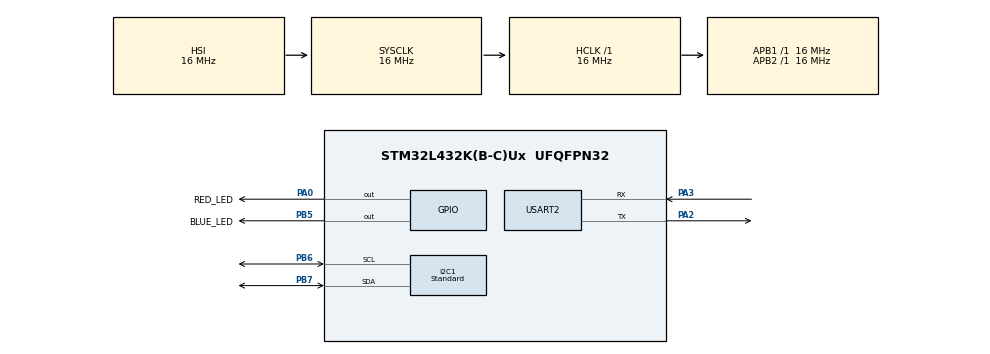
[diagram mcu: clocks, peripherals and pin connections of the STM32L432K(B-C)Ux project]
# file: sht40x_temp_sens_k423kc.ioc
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I2C1.I2C_Speed_Mode=I2C_Standard
I2C1.Timing=0x00303D5B
Mcu.Family=STM32L4
Mcu.Name=STM32L432K(B-C)Ux
Mcu.Package=UFQFPN32
NVIC.PriorityGroup=NVIC_PRIORITYGROUP_4
PA0.GPIO_Label=RED_LED
PA0.Signal=GPIO_Output
PA13\ (JTMS-SWDIO).Mode=Serial_Wire
PA13\ (JTMS-SWDIO).Signal=SYS_JTMS-SWDIO
PA14\ (JTCK-SWCLK).Mode=Serial_Wire
PA14\ (JTCK-SWCLK).Signal=SYS_JTCK-SWCLK
PA2.Mode=Asynchronous
PA2.Signal=USART2_TX
PA3.Mode=Asynchronous
PA3.Signal=USART2_RX
PB5.GPIO_Label=BLUE_LED
PB5.Signal=GPIO_Output
PB6.Mode=I2C
PB6.Signal=I2C1_SCL
PB7.Mode=I2C
PB7.Signal=I2C1_SDA
ProjectManager.HeapSize=0x200
ProjectManager.StackSize=0x400
ProjectManager.TargetToolchain=STM32CubeIDE
RCC.ADCFreq_Value=16000000
RCC.AHBFreq_Value=16000000
RCC.APB1Freq_Value=16000000
RCC.APB1TimFreq_Value=16000000
RCC.APB2Freq_Value=16000000
RCC.APB2TimFreq_Value=16000000
RCC.CortexFreq_Value=16000000
RCC.HCLKFreq_Value=16000000
RCC.HSE_VALUE=8000000
RCC.HSI48_VALUE=48000000
RCC.HSI_VALUE=16000000
RCC.LSE_VALUE=32768
RCC.MSI_VALUE=4000000
RCC.PLLM=4
RCC.PLLN=16
RCC.PLLSourceVirtual=RCC_PLLSOURCE_HSI
RCC.SYSCLKFreq_VALUE=16000000
RCC.SYSCLKSource=RCC_SYSCLKSOURCE_HSI
RCC.USBFreq_Value=16000000
RCC.VCOOutputFreq_Value=64000000
USART2.VirtualMode-Asynchronous=VM_ASYNC
board=custom

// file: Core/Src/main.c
/* USER CODE BEGIN Header */
/**
  ******************************************************************************
  * @file           : main.c
  * @brief          : Main program body
  ******************************************************************************
  * @attention
  *
  * Copyright (c) 2023 STMicroelectronics.
  * All rights reserved.
  *
  * This software is licensed under terms that can be found in the LICENSE file
  * in the root directory of this software component.
  * If no LICENSE file comes with this software, it is provided AS-IS.
  *
  ******************************************************************************
  */
/* USER CODE END Header */
#include "main.h"

/* USER CODE BEGIN Includes */
#include "sht40x_driver_basic.h"
/* USER CODE END Includes */

 I2C_HandleTypeDef hi2c1;

UART_HandleTypeDef huart2;

/* USER CODE BEGIN PV */
void serial_print(const char *pString, uint8_t u8Length);
uint8_t i2c_write(uint8_t addr, uint8_t *buf, uint8_t len);
uint8_t i2c_read(uint8_t addr, uint8_t *buf, uint8_t len);
/* USER CODE END PV */

void SystemClock_Config(void);
static void MX_GPIO_Init(void);
static void MX_I2C1_Init(void);
static void MX_USART2_UART_Init(void);

/* USER CODE BEGIN 0 */
sht40x_info_t sht40xInfo;
sht40x_data_t dataRead;

int err;
uint32_t UID;
uint8_t variant;
uint8_t deviceAdd;
uint8_t NumberSamples = 10;
/* USER CODE END 0 */

int main(void)
{

  /* MCU Configuration--------------------------------------------------------*/

  /* Reset of all peripherals, Initializes the Flash interface and the Systick. */
  HAL_Init();

  /* Configure the system clock */
  SystemClock_Config();

  /* Initialize all configured peripherals */
  MX_GPIO_Init();
  MX_I2C1_Init();
  MX_USART2_UART_Init();
  HAL_Delay(500);

	sht40x_basic_initialize(SHT40_AD1B_VARIANT);        /**< initialize device variant */
	sht40x_info(&sht40xInfo);

	sht40x_interface_debug_print("Chip Name: \t%s\r\n", sht40xInfo.chip_name);
	sht40x_interface_debug_print("Manufacturer: \t%s\r\n",sht40xInfo.manufacturer_name);
	sht40x_interface_debug_print("Interface Protocol: \t%s\r\n", sht40xInfo.interface);
	sht40x_interface_debug_print("Supply Volt Max: \t%.1f V\r\n",sht40xInfo.supply_voltage_max_v);
	sht40x_interface_debug_print("Supply Volt Min: \t%.1f V\r\n",sht40xInfo.supply_voltage_min_v);
	sht40x_interface_debug_print("Maximum Current: \t%.1f uA\r\n",sht40xInfo.max_current_ma);
	sht40x_interface_debug_print("Max Temperature: \t%.1f C\r\n",sht40xInfo.temperature_max);
	sht40x_interface_debug_print("Diver Version: \t\tV%.1f.%.2d\r\n",(sht40xInfo.driver_version /1000), (uint8_t)(sht40xInfo.driver_version - (uint8_t)(sht40xInfo.driver_version / 100)*100));
  /* Infinite loop */
  /* USER CODE BEGIN WHILE */
  while (1)
  {
		HAL_GPIO_TogglePin(BLUE_LED_GPIO_Port, BLUE_LED_Pin);
		sht40x_interface_delay_ms(3000);

		err =  sht40x_basic_get_temp_rh(SHT40X_PRECISION_HIGH, &dataRead);                               /**< Take temperature and humidity measurement */
		sht40x_interface_debug_print("\nTemp C: %.2f\n", dataRead.temperature_C);
		sht40x_interface_debug_print("Temp F: %.2f\n", dataRead.temperature_F);
		sht40x_interface_debug_print("Humidity: %.2f\n", dataRead.humidity);

		for(int index = 0; index < RESPONSE_LENGTH; index++){
			sht40x_interface_debug_print("raw data: 0x%.2x\n", dataRead.rawData[index]);
		}

		err = sht40x_basic_get_serial_number( (uint32_t*)&UID );                                         /**< Read sensor unique ID (Serial number) */
		sht40x_interface_debug_print("\nserial number : %lu\n", UID);

//        err = sht40x_basic_get_temp_humidity_nSample(SHT40X_PRECISION_HIGH, &dataRead, NumberSamples); /**< Measure Temp and humidity with n number of samples */
//        sht40x_interface_debug_print("\nTemp C sampled: %.2f\n", dataRead.temperature_C);
//        sht40x_interface_debug_print("Humidity sampled: %.2f\n", dataRead.humidity);
//
//        err = sht40x_basic_activate_heater(SHT40X_HEATER_POWER_200mW_100mS, &dataRead);                 /**< Activate heater and measure temperature */
//        sht40x_interface_debug_print("\nHeater Temp C: %.2f\n", dataRead.temperature_C);
//        sht40x_interface_debug_print("Heater Temp F: %.2f\n", dataRead.temperature_F);
//        sht40x_interface_debug_print("Heater Humidity: %.2f\n", dataRead.humidity);
//
//        sht40x_basic_get_variant((uint8_t *) & variant);
//        sht40x_interface_debug_print("\nDevice variant: %d\n", variant);
//        sht40x_basic_get_addr((uint8_t *) & deviceAdd);
//        sht40x_interface_debug_print("\nDevice Address: %x\n", deviceAdd);
    /* USER CODE END WHILE */

  }
}

void SystemClock_Config(void)
{
  RCC_OscInitTypeDef RCC_OscInitStruct = {0};
  RCC_ClkInitTypeDef RCC_ClkInitStruct = {0};

  /** Configure the main internal regulator output voltage
  */
  if (HAL_PWREx_ControlVoltageScaling(PWR_REGULATOR_VOLTAGE_SCALE1) != HAL_OK)
  {
    Error_Handler();
  }

  /** Initializes the RCC Oscillators according to the specified parameters
  * in the RCC_OscInitTypeDef structure.
  */
  RCC_OscInitStruct.OscillatorType = RCC_OSCILLATORTYPE_HSI;
  RCC_OscInitStruct.HSIState = RCC_HSI_ON;
  RCC_OscInitStruct.HSICalibrationValue = RCC_HSICALIBRATION_DEFAULT;
  RCC_OscInitStruct.PLL.PLLState = RCC_PLL_NONE;
  if (HAL_RCC_OscConfig(&RCC_OscInitStruct) != HAL_OK)
  {
    Error_Handler();
  }

  /** Initializes the CPU, AHB and APB buses clocks
  */
  RCC_ClkInitStruct.ClockType = RCC_CLOCKTYPE_HCLK|RCC_CLOCKTYPE_SYSCLK
                              |RCC_CLOCKTYPE_PCLK1|RCC_CLOCKTYPE_PCLK2;
  RCC_ClkInitStruct.SYSCLKSource = RCC_SYSCLKSOURCE_HSI;
  RCC_ClkInitStruct.AHBCLKDivider = RCC_SYSCLK_DIV1;
  RCC_ClkInitStruct.APB1CLKDivider = RCC_HCLK_DIV1;
  RCC_ClkInitStruct.APB2CLKDivider = RCC_HCLK_DIV1;

  if (HAL_RCC_ClockConfig(&RCC_ClkInitStruct, FLASH_LATENCY_0) != HAL_OK)
  {
    Error_Handler();
  }
}

static void MX_I2C1_Init(void)
{

  hi2c1.Instance = I2C1;
  hi2c1.Init.Timing = 0x00303D5B;
  hi2c1.Init.OwnAddress1 = 0;
  hi2c1.Init.AddressingMode = I2C_ADDRESSINGMODE_7BIT;
  hi2c1.Init.DualAddressMode = I2C_DUALADDRESS_DISABLE;
  hi2c1.Init.OwnAddress2 = 0;
  hi2c1.Init.OwnAddress2Masks = I2C_OA2_NOMASK;
  hi2c1.Init.GeneralCallMode = I2C_GENERALCALL_DISABLE;
  hi2c1.Init.NoStretchMode = I2C_NOSTRETCH_DISABLE;
  if (HAL_I2C_Init(&hi2c1) != HAL_OK)
  {
    Error_Handler();
  }

  /** Configure Analogue filter
  */
  if (HAL_I2CEx_ConfigAnalogFilter(&hi2c1, I2C_ANALOGFILTER_ENABLE) != HAL_OK)
  {
    Error_Handler();
  }

  /** Configure Digital filter
  */
  if (HAL_I2CEx_ConfigDigitalFilter(&hi2c1, 0) != HAL_OK)
  {
    Error_Handler();
  }

}

static void MX_USART2_UART_Init(void)
{

  huart2.Instance = USART2;
  huart2.Init.BaudRate = 115200;
  huart2.Init.WordLength = UART_WORDLENGTH_8B;
  huart2.Init.StopBits = UART_STOPBITS_1;
  huart2.Init.Parity = UART_PARITY_NONE;
  huart2.Init.Mode = UART_MODE_TX_RX;
  huart2.Init.HwFlowCtl = UART_HWCONTROL_NONE;
  huart2.Init.OverSampling = UART_OVERSAMPLING_16;
  huart2.Init.OneBitSampling = UART_ONE_BIT_SAMPLE_DISABLE;
  huart2.AdvancedInit.AdvFeatureInit = UART_ADVFEATURE_NO_INIT;
  if (HAL_UART_Init(&huart2) != HAL_OK)
  {
    Error_Handler();
  }

}

static void MX_GPIO_Init(void)
{
  GPIO_InitTypeDef GPIO_InitStruct = {0};

  /* GPIO Ports Clock Enable */
  __HAL_RCC_GPIOA_CLK_ENABLE();
  __HAL_RCC_GPIOB_CLK_ENABLE();

  /*Configure GPIO pin Output Level */
  HAL_GPIO_WritePin(RED_LED_GPIO_Port, RED_LED_Pin, GPIO_PIN_RESET);

  /*Configure GPIO pin Output Level */
  HAL_GPIO_WritePin(BLUE_LED_GPIO_Port, BLUE_LED_Pin, GPIO_PIN_RESET);

  /*Configure GPIO pin : RED_LED_Pin */
  GPIO_InitStruct.Pin = RED_LED_Pin;
  GPIO_InitStruct.Mode = GPIO_MODE_OUTPUT_PP;
  GPIO_InitStruct.Pull = GPIO_NOPULL;
  GPIO_InitStruct.Speed = GPIO_SPEED_FREQ_LOW;
  HAL_GPIO_Init(RED_LED_GPIO_Port, &GPIO_InitStruct);

  /*Configure GPIO pin : BLUE_LED_Pin */
  GPIO_InitStruct.Pin = BLUE_LED_Pin;
  GPIO_InitStruct.Mode = GPIO_MODE_OUTPUT_PP;
  GPIO_InitStruct.Pull = GPIO_NOPULL;
  GPIO_InitStruct.Speed = GPIO_SPEED_FREQ_LOW;
  HAL_GPIO_Init(BLUE_LED_GPIO_Port, &GPIO_InitStruct);

}

/* USER CODE BEGIN 4 */
/**
 * @brief transmit serial data via usb com port
 * @param[in] pTxBuffer point to data to sent
 * @param[in] length is the data size
 * @return
 * @note		none
 * */
void serial_print(const char *pString, uint8_t u8Length)
{
	HAL_UART_Transmit(&huart2, (const uint8_t *) pString, u8Length, HAL_MAX_DELAY);
}

/**
 * @brief i2c data transmit
 * @param[in] addr is the slave address
 * @param[in] reg the register to write
 * @param[in] buf the data to be writen
 * @param[in] len size of data
 * @returb  status code
 * 			- 0 sucess
 * 			- 1 failed to write
 * @note	none
 * */
uint8_t i2c_write(uint8_t addr, uint8_t *buf, uint8_t len)
{
	return HAL_I2C_Master_Transmit(&hi2c1, (addr << 1), (uint8_t *)buf, len, 1000);
}

/**
 * @brief i2c data Read
 * @param[in] addr is the slave address
 * @param[in] reg the register to read
 * @param[out] buf point to data to read
 * @param[in] len size of data
 * @returb  status code
 * 			- 0 sucess
 * 			- 1 failed to read
 * @note	none
 * */

uint8_t i2c_read(uint8_t addr, uint8_t *buf, uint8_t len)
{
    return HAL_I2C_Master_Receive(&hi2c1, (addr << 1), (uint8_t *)buf, len, 1000);
}
/* USER CODE END 4 */

void Error_Handler(void)
{
  __disable_irq();
  while (1)
  {
  }
}
